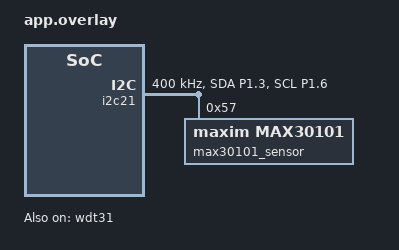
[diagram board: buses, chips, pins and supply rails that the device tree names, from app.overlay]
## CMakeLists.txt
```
# Ring•One Firmware · Copyright (c) 2026 Dotstar Systems · Apache 2.0
cmake_minimum_required(VERSION 3.20.0)

find_package(Zephyr REQUIRED HINTS $ENV{ZEPHYR_BASE})
project(ringone_firmware VERSION 0.1.0)

target_sources(app PRIVATE
  src/main.c
  src/wifi_prov.c
  src/influx_telemetry.c
  src/mqtt_client.c
  src/sntp_sync.c
  src/watchdog.c
  src/ringone_shell.c
  ../drivers/sensors/ringone_sensors.c
  ../drivers/sensors/ringone_ppg.c
)

target_include_directories(app PRIVATE
  ../drivers/sensors
)
```

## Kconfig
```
source "Kconfig.zephyr"
rsource "Kconfig.ringone"
```

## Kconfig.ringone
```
# Ring•One Firmware · Dotstar Systems · Apache 2.0
# Ring-One application Kconfig — sourced from app/Kconfig

config RINGONE_CLOUD_ENABLE
	bool "Enable Wi-Fi provisioning + cloud telemetry"
	default y
	help
	  Disable for BLE-only local bench testing: skips wifi_prov_init(),
	  sntp_sync(), influx_telemetry_init(), ringone_mqtt_init(), and the
	  periodic InfluxDB/MQTT publish — no Wi-Fi AP or cloud broker needed.
	  BLE advertising, GATT notifications and sensor reads are unaffected.
	  Build with: -DCONFIG_RINGONE_CLOUD_ENABLE=n

config RINGONE_TELEMETRY_INTERVAL_SEC
	int "MQTT telemetry publish interval seconds"
	default 30
	range 10 300
	help
	  How often to publish telemetry over MQTT (PATH C). MQTT stays
	  connected persistently, so this mainly trades data resolution vs
	  battery/airtime — it doesn't pay a new handshake per publish.
	  TWT sleep cycle on nRF7002 is tuned to this interval.

config RINGONE_INFLUX_INTERVAL_SEC
	int "InfluxDB publish interval seconds"
	default 1
	range 1 300
	help
	  How often to publish telemetry directly to InfluxDB over HTTPS
	  (PATH B). Decoupled from RINGONE_TELEMETRY_INTERVAL_SEC (MQTT)
	  since the two paths have very different per-publish cost: MQTT
	  reuses one long-lived connection, while PATH B pays a TCP+TLS
	  handshake for the first write and then reuses that connection
	  too (see influx_telemetry.c) — but a stale/closed connection
	  still costs one reconnect. Note this only changes how often the
	  *last known* sensor reading is posted; the reading itself is
	  still refreshed on the 2 s notify_work_handler cadence in
	  main.c, so it will not surface faster than that.

config RINGONE_SNTP_SERVER
	string "SNTP server hostname or IP"
	default "pool.ntp.org"
	help
	  NTP source for sntp_sync.c's time sync. Accepts a hostname or a
	  literal IP (sntp_simple() resolves either via getaddrinfo).
	  Override for offline/local-network demos where pool.ntp.org isn't
	  reachable — after sntp_thread_fn()'s retries are exhausted,
	  sntp_get_unix_time() falls back to a raw uptime counter (not a
	  real Unix timestamp), which corrupts the "ts" field in every
	  InfluxDB/MQTT publish until a sync eventually succeeds.

config RINGONE_INFLUX_HOST
	string "InfluxDB Cloud hostname"
	default "eu-central-1-1.aws.cloud2.influxdata.com"
	help
	  InfluxDB Cloud v3 write endpoint hostname.

config RINGONE_INFLUX_ORG
	string "InfluxDB organisation name"
	default "dotstar"
	help
	  InfluxDB organisation name.  Provisioned once via shell; device uses
	  runtime token from PSA Protected Storage for auth.

config RINGONE_INFLUX_BUCKET
	string "InfluxDB bucket name"
	default "ringone"
	help
	  InfluxDB bucket to write telemetry into (30 day retention recommended).

config RINGONE_MQTT_BROKER_HOST
	string "HiveMQ Cloud broker hostname"
	default "722d06c149744771bf2b3503827b63ae.s1.eu.hivemq.cloud:8883"
	help
	  HiveMQ Cloud free-tier broker hostname.
	  Format: <cluster-id>.s1.<region>.hivemq.cloud
	  Override with your real hostname; production devices get credentials
	  from PSA Protected Storage, not Kconfig.

config RINGONE_MQTT_BROKER_PORT
	int "MQTT broker TLS port"
	default 8883

config RINGONE_MQTT_USERNAME
	string "MQTT broker username (dev default only)"
	default "ringone-firmware"
	help
	  Dev-only default.  Production devices use credentials written to
	  PSA Protected Storage by the factory provisioning tool.

config RINGONE_MQTT_PASSWORD
	string "MQTT broker password (dev default only)"
	default ""
	help
	  Dev-only default.  Leave empty in production — credentials stored in
	  PSA Protected Storage (CRACEN HUK-encrypted, never plaintext in flash).

config RINGONE_SOFTAP_SSID
	string "SoftAP provisioning network name"
	default "dotstar-ringone-setup"
	help
	  SSID broadcast by the nRF54LM20B when in SoftAP provisioning mode.

config RINGONE_SOFTAP_TIMEOUT_SEC
	int "SoftAP auto-shutdown timeout seconds"
	default 300
	range 60 900
	help
	  If no Wi-Fi credentials are received via SoftAP within this period,
	  SoftAP stops automatically to conserve battery.

config RINGONE_WIFI_RECONNECT_DELAY_SEC
	int "Wi-Fi reconnect backoff delay seconds"
	default 30
```

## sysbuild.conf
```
#
# Ring•One Firmware · Dotstar Systems · Apache 2.0
#
# Sysbuild configuration — tells the NCS sysbuild system to enable the
# nRF7002 Wi-Fi driver.  Without this, sysbuild forcibly sets
# CONFIG_WIFI_NRF70=n in the application image even when prj.conf requests it.
#

SB_CONFIG_WIFI_NRF70=y
```

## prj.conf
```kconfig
# ── Application ──────────────────────────────────────────────────────
CONFIG_MAIN_STACK_SIZE=4096
CONFIG_NCS_APPLICATION_BOOT_BANNER_STRING="Ring-One | Dotstar Systems"

# ── BLE ──────────────────────────────────────────────────────────────
CONFIG_BT=y
CONFIG_BT_PERIPHERAL=y
CONFIG_BT_DEVICE_NAME="Ring-One"
CONFIG_BT_DEVICE_APPEARANCE=833
CONFIG_BT_MAX_CONN=1
CONFIG_BT_SMP=y
CONFIG_BT_LL_SOFTDEVICE=y

# ── GATT ─────────────────────────────────────────────────────────────
CONFIG_BT_GATT_DYNAMIC_DB=n

# ── Sensor ───────────────────────────────────────────────────────────
CONFIG_SENSOR=y
CONFIG_I2C=y
CONFIG_MAX30101=y

# ── Power management ─────────────────────────────────────────────────
CONFIG_PM=y
CONFIG_PM_DEVICE=y
# Deferred-init MAX30101 is brought up manually by ringone_sensors_init();
# don't let runtime PM suspend it behind our back before that happens.
CONFIG_PM_DEVICE_RUNTIME=n

# ── Logging ──────────────────────────────────────────────────────────
CONFIG_LOG=y
CONFIG_LOG_DEFAULT_LEVEL=3
CONFIG_LOG_BACKEND_UART=y
CONFIG_SERIAL=y
CONFIG_UART_CONSOLE=y

# ── GATT Device Information Service ──────────────────────────────────
CONFIG_BT_DIS=y
CONFIG_BT_DIS_MANUF_NAME=y
CONFIG_BT_DIS_MANUF_NAME_STR="Dotstar Systems"
CONFIG_BT_DIS_MODEL_NUMBER=y
CONFIG_BT_DIS_MODEL_NUMBER_STR="Ring-One"
CONFIG_BT_DIS_HW_REV=y
CONFIG_BT_DIS_HW_REV_STR="1.0"
CONFIG_BT_DIS_FW_REV=y
CONFIG_BT_DIS_FW_REV_STR="0.1.0"
CONFIG_BT_DIS_SERIAL_NUMBER=y
CONFIG_BT_DIS_SERIAL_NUMBER_STR="r1"
CONFIG_BT_DIS_PNP=n

# ── Bonding (required for BT_GATT_PERM_WRITE_ENCRYPT on WiFi-Password) ─
CONFIG_BT_BONDABLE=y
CONFIG_BT_SETTINGS=y

# ── Assert ───────────────────────────────────────────────────────────
CONFIG_ASSERT=y

# ── Wi-Fi (nRF7002 via shield) ──────────────────────────────────────
CONFIG_WIFI=y
CONFIG_WIFI_NRF70=y
CONFIG_NET_L2_WIFI_MGMT=y
CONFIG_NET_L2_ETHERNET=y
CONFIG_WIFI_NM_WPA_SUPPLICANT=y
CONFIG_WIFI_NM_WPA_SUPPLICANT_AP=y
CONFIG_WIFI_NM_WPA_SUPPLICANT_THREAD_STACK_SIZE=8192
CONFIG_NRF70_AP_MODE=y

# ── BLE + Wi-Fi coexistence (CRITICAL — Dotstar differentiator) ─────
# MPSL_CX and MPSL_CX_NRF700X are auto-selected by Kconfig from the DTS
# nrf_radio_coex node added by the nrf7002eb2_coex shield overlay.
# Do NOT set them manually — DTS-driven selection via dt_nodelabel_enabled.
CONFIG_NRF70_SR_COEX=y

# ── Shell (debug: Wi-Fi and credential provisioning) ─────────────────
CONFIG_SHELL=y
CONFIG_NET_L2_WIFI_SHELL=y
CONFIG_WIFI_CREDENTIALS_SHELL=y

# ── Networking stack ────────────────────────────────────────────────
CONFIG_NETWORKING=y
CONFIG_NET_NATIVE=y
CONFIG_NET_IPV4=y
CONFIG_NET_TCP=y
CONFIG_NET_UDP=y
CONFIG_NET_SOCKETS=y
CONFIG_POSIX_NETWORKING=y
CONFIG_DNS_RESOLVER=y
CONFIG_DNS_RESOLVER_AI_MAX_ENTRIES=8
CONFIG_DNS_NUM_CONCUR_QUERIES=4
CONFIG_NET_DHCPV4=y
CONFIG_NET_DHCPV4_SERVER=y
CONFIG_NET_MAX_CONN=8
CONFIG_NET_MAX_CONTEXTS=8
CONFIG_NET_CONNECTION_MANAGER=y
# Must be disabled when SoftAP provisioning library manages its own IP config
CONFIG_NET_CONFIG_AUTO_INIT=n

# ── Wi-Fi connectivity layer ────────────────────────────────────────
CONFIG_L2_WIFI_CONNECTIVITY=y
# Auto-connect disabled — we call conn_mgr_all_if_connect() after SoftAP
CONFIG_L2_WIFI_CONNECTIVITY_AUTO_CONNECT=n
CONFIG_L2_WIFI_CONNECTIVITY_AUTO_DOWN=n

# ── SoftAP Wi-Fi provisioning ────────────────────────────────────────
CONFIG_SOFTAP_WIFI_PROVISION=y
CONFIG_SOFTAP_WIFI_PROVISION_THREAD_STACK_SIZE=8192
# Use our brand SSID instead of the library default "nrf-wifiprov"
CONFIG_SOFTAP_WIFI_PROVISION_SSID="dotstar-ringone-setup"
# Keep socket open after provisioning so mDNS SD stays alive — the
# nRF Wi-Fi Provisioner app needs it to confirm connection succeeded.
CONFIG_SOFTAP_WIFI_PROVISION_SOCKET_CLOSE_ON_COMPLETION=n
CONFIG_NANOPB=y
CONFIG_SMF=y
CONFIG_HTTP_PARSER=y
CONFIG_HTTP_PARSER_URL=y
# mDNS + DNS-SD: MDNS_RESPONDER_DNS_SD bridges the two subsystems so
# DNS_SD_REGISTER_TCP_SERVICE() entries are actually announced over mDNS.
# Without this flag the service is registered but never advertised — the
# nRF Wi-Fi Provisioner app connects to the AP and gets no DNS-SD response.
CONFIG_MDNS_RESPONDER=y
CONFIG_DNS_SD=y
CONFIG_MDNS_RESPONDER_DNS_SD=y
CONFIG_NET_HOSTNAME_ENABLE=y
# "wifiprov" matches what the nRF Wi-Fi Provisioner app looks for via
# DNS-SD (_http._tcp.local).  The library registers the service under
# CONFIG_NET_HOSTNAME, so this name must match the app's browse query.
CONFIG_NET_HOSTNAME="wifiprov"
# Disable IPv6 — mDNS works more reliably with a single-stack responder,
# and all Ring-One cloud paths are IPv4.
CONFIG_NET_IPV6=n
# Suppress "hostname too long" POSIX warning from CONFIG_NET_HOSTNAME.
CONFIG_POSIX_SINGLE_PROCESS=n
# FS needed for SoftAP library linking
CONFIG_FILE_SYSTEM=y

# ── MQTT ────────────────────────────────────────────────────────────
CONFIG_MQTT_LIB=y
CONFIG_MQTT_LIB_TLS=y

# ── TLS / nRF Security ──────────────────────────────────────────────
CONFIG_NET_SOCKETS_SOCKOPT_TLS=y
CONFIG_NET_SOCKETS_TLS_MAX_CONTEXTS=8
CONFIG_TLS_CREDENTIALS=y
# Protected storage: TLS credentials survive reboot (needed by SoftAP HTTPS server)
CONFIG_TLS_CREDENTIALS_BACKEND_PROTECTED_STORAGE=y
CONFIG_NRF_SECURITY=y
CONFIG_MBEDTLS=y
CONFIG_MBEDTLS_ENABLE_HEAP=y
CONFIG_MBEDTLS_SSL_SERVER_NAME_INDICATION=y
CONFIG_MBEDTLS_LEGACY_CRYPTO_C=y
CONFIG_MBEDTLS_RSA_C=y
CONFIG_MBEDTLS_PEM_PARSE_C=y
CONFIG_MBEDTLS_MPI_MAX_SIZE=512
# TLS record buffer sizing:
#   IN  8192 — holds server Certificate record (cloud providers typically 3-5 KB DER chain)
#   OUT 4096 — our largest outbound message is ~400 B HTTP POST / ~256 B MQTT JSON
# With two concurrent TLS sessions (MQTT + InfluxDB) peak mbedTLS heap usage is:
#   2 × (8192 IN + 4096 OUT + ~4096 SSL ctx + ~20000 X509 parse) ≈ 72 KB
# Heap is set to 76000 to cover that peak with headroom.
# KEEP_PEER_CERTIFICATE=n frees the parsed cert right after the handshake so
# subsequent InfluxDB POSTs only need one cert's worth of X509 memory at a time.
CONFIG_MBEDTLS_SSL_IN_CONTENT_LEN=8192
CONFIG_MBEDTLS_SSL_OUT_CONTENT_LEN=4096
CONFIG_MBEDTLS_SSL_KEEP_PEER_CERTIFICATE=n
CONFIG_MBEDTLS_HEAP_SIZE=76000

# ── PSA ECC — required for SoftAP HTTPS server (ECDSA P-256) ────────
CONFIG_PSA_WANT_ALG_ECDH=y
CONFIG_PSA_WANT_ALG_ECDSA=y
CONFIG_PSA_WANT_ECC_SECP_R1_256=y
CONFIG_PSA_WANT_KEY_TYPE_ECC_PUBLIC_KEY=y
CONFIG_PSA_WANT_KEY_TYPE_ECC_KEY_PAIR_IMPORT=y
CONFIG_PSA_WANT_KEY_TYPE_ECC_KEY_PAIR_GENERATE=y
CONFIG_PSA_WANT_KEY_TYPE_ECC_KEY_PAIR_EXPORT=y

# ── PSA Protected Storage — MQTT creds encrypted with CRACEN HUK ────
# TRUSTED_STORAGE uses AEAD (ChaChaPoly) with key derived from CRACEN
# hardware unique key. Credentials never appear in plaintext in flash.
CONFIG_TRUSTED_STORAGE=y
CONFIG_PSA_PROTECTED_STORAGE=y
CONFIG_HW_UNIQUE_KEY=y
CONFIG_HW_UNIQUE_KEY_RANDOM=y

# ── wifi_ready library — waits for WPA supplicant / nRF7002 FW load ─
CONFIG_WIFI_READY_LIB=y

# ── Wi-Fi credentials (provisioned via SoftAP or wifi_cred shell) ────
CONFIG_WIFI_CREDENTIALS=y
CONFIG_FLASH=y
CONFIG_FLASH_PAGE_LAYOUT=y
CONFIG_FLASH_MAP=y
CONFIG_ZMS=y
CONFIG_SETTINGS=y

# ── Network buffers (size for MQTT JSON payload) ────────────────────
CONFIG_NET_PKT_RX_COUNT=8
CONFIG_NET_PKT_TX_COUNT=8
CONFIG_NET_BUF_RX_COUNT=8
CONFIG_NET_BUF_TX_COUNT=16
CONFIG_NRF70_RX_NUM_BUFS=8
CONFIG_NET_PKT_BUF_RX_DATA_POOL_SIZE=4096
CONFIG_NET_PKT_BUF_TX_DATA_POOL_SIZE=4096

# ── Stack and heap sizes ────────────────────────────────────────────
CONFIG_HEAP_MEM_POOL_SIZE=40000
CONFIG_HEAP_MEM_POOL_IGNORE_MIN=y
CONFIG_NRF_WIFI_CTRL_HEAP_SIZE=20000
CONFIG_NRF_WIFI_DATA_HEAP_SIZE=53000
CONFIG_NET_CONNECTION_MANAGER_MONITOR_STACK_SIZE=4096
CONFIG_NET_TX_STACK_SIZE=2048
CONFIG_NET_RX_STACK_SIZE=2048
CONFIG_NET_MGMT_EVENT_STACK_SIZE=4096
CONFIG_SYSTEM_WORKQUEUE_STACK_SIZE=4096

# ── Floating-point printf (for JSON temp field) ─────────────────────
CONFIG_CBPRINTF_FP_SUPPORT=y

# ── SNTP time sync ──────────────────────────────────────────────────
CONFIG_SNTP=y

# ── Hardware watchdog ────────────────────────────────────────────────
CONFIG_WATCHDOG=y
CONFIG_WDT_DISABLE_AT_BOOT=n
CONFIG_HWINFO=y

# ── HTTP client (PATH B — InfluxDB HTTPS POST) ───────────────────────
CONFIG_HTTP_CLIENT=y

# ── DK buttons (SoftAP long-press trigger) ───────────────────────────
CONFIG_DK_LIBRARY=y
CONFIG_GPIO=y

# ── Die temperature sensor ───────────────────────────────────────────
# RING_ONE_TODO: verify driver name for nRF54LM20B in NCS v3.3.0
# CONFIG_DIE_TEMP_NRF5=y

# ── Reboot support (MQTT cmd handler) ───────────────────────────────
CONFIG_REBOOT=y

# ── Logging additions ────────────────────────────────────────────────
CONFIG_NET_LOG=y
CONFIG_WIFI_NM_WPA_SUPPLICANT_LOG_LEVEL_INF=y
```

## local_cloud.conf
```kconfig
# Ring•One "local_cloud" build overlay.
#
# Points the firmware at ../ringone-cloud-local (self-hosted InfluxDB +
# Mosquitto + Grafana behind self-signed TLS) instead of the live HiveMQ
# Cloud / InfluxDB Cloud accounts the Kconfig.ringone defaults point at.
#
# CONFIG_RINGONE_INFLUX_HOST and CONFIG_RINGONE_MQTT_BROKER_HOST are NOT
# set here — the target is a laptop's LAN IP, which changes with whatever
# network the demo runs on. Pass both at build time; `./ringone-cloud
# start` in ringone-cloud-local prints the exact IP to use:
#
#   west build -b nrf54lm20dk/nrf54lm20b/cpuapp app/ \
#     -- -DSHIELD="nrf7002eb2;nrf7002eb2_coex" \
#        -DEXTRA_CONF_FILE=local_cloud.conf \
#        -DCONFIG_RINGONE_INFLUX_HOST=\"<lan-ip>\" \
#        -DCONFIG_RINGONE_MQTT_BROKER_HOST=\"<lan-ip>:8883\"
#
# InfluxDB org/bucket already match ringone-cloud-local's .env by default
# (CONFIG_RINGONE_INFLUX_ORG="dotstar", CONFIG_RINGONE_INFLUX_BUCKET="ringone")
# — nothing to override there.
#
# The InfluxDB write token is provisioned at runtime, not build time:
#   uart:~$ ringone_cred set influx_token ringone-local-dev-token
#
# mosquitto.conf in ringone-cloud-local sets `allow_anonymous true` on
# every listener (closed LAN demo stack, never internet-reachable) — no
# MQTT credentials needed, so clear the Kconfig dev defaults rather than
# send them.
CONFIG_RINGONE_MQTT_USERNAME=""
CONFIG_RINGONE_MQTT_PASSWORD=""
```

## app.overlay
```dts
/* Ring•One Firmware · Dotstar Systems · Apache 2.0 */
/* DTS overlay: enable watchdog0 (wdt31) on nRF54LM20B */

&wdt31 {
	status = "okay";
};

/* MAX30101 heart-rate / SpO2 sensor: I2C21 on P1.03 (SDA) / P1.06 (SCL) —
 * validated on nRF54LM20DK-A hardware.
 * NOTE: P1.04 is nrf7002eb2's bucken-gpios (expansion header pin 4) —
 * do not put I2C21 there, it stops the nRF7002 from powering on and
 * Wi-Fi init fails even with the MAX30101 unplugged. P1.13/P1.05/P1.07
 * are also claimed by the shield (iovdd-ctrl / host-irq / coex grant).
 * P1.02 was tried but didn't come up reliably on the breadboard wiring;
 * P1.03 and P1.06 are free on this board and work. */
/ {
	aliases {
		heart-rate-sensor = &max30101_sensor;
	};
};

&pinctrl {
	i2c21_default: i2c21_default {
		group1 {
			psels = <NRF_PSEL(TWIM_SDA, 1, 3)>,
				<NRF_PSEL(TWIM_SCL, 1, 6)>;
			bias-pull-up;
		};
	};

	i2c21_sleep: i2c21_sleep {
		group1 {
			psels = <NRF_PSEL(TWIM_SDA, 1, 3)>,
				<NRF_PSEL(TWIM_SCL, 1, 6)>;
			low-power-enable;
		};
	};
};

&i2c21 {
	status = "okay";
	pinctrl-0 = <&i2c21_default>;
	pinctrl-1 = <&i2c21_sleep>;
	pinctrl-names = "default", "sleep";
	clock-frequency = <I2C_BITRATE_FAST>; /* 400 kHz */

	max30101_sensor: max30101@57 {
		status = "okay";
		compatible = "maxim,max30101";
		reg = <0x57>;
		/* Sensor power rail settles after the rest of the board is
		 * up — deferred-init lets ringone_sensors_init() retry the
		 * bring-up sequence instead of failing a POST_KERNEL init. */
		zephyr,deferred-init;
		acq-mode = "spo2";
		/* Binding default led-pa is [0xff,0xff,0xff] (~50 mA per LED) —
		 * at ring form-factor proximity that pins the photodiode at
		 * ADC full-scale (raw reads 0x3FFFF, i.e. 32767 after the
		 * driver's data_shift), clipping the AC/pulsatile component
		 * flat and leaving heart-rate/SpO2 stuck at 0.
		 *
		 * led-pa=0x24 (previous value) stopped the saturation, but
		 * ringone_ppg debug logging on hardware showed the real
		 * pulsatile AC settles at only ~9-13 counts against a ~7460
		 * DC baseline once contact stabilises — ~0.15% modulation,
		 * over 10x below MIN_AC_RMS_COUNTS (150). DC is still only
		 * ~23% of the way to the saturation ceiling there, but AC
		 * scales with DC, so LED current alone tops out around
		 * ~55-60 counts even pushed to the saturation edge — not
		 * enough by itself.
		 *
		 * led-pw's default (69 us) only gives 15-bit resolution, so
		 * the driver's data_shift discards the bottom 3 raw bits.
		 * 411 us (18-bit, data_shift=0) recovers those for free — an
		 * 8x count gain with no extra LED current or noise. Paired
		 * with a smaller led-pa bump for margin, this should clear
		 * the AC threshold while keeping steady-state DC well under
		 * the (now finer-grained) saturation ceiling. Retune against
		 * `ringone spo2` on actual hardware. */
		led-pw = <411>;
		led-pa = [60 60 00];
	};
};
```

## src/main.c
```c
/* Ring•One Firmware · Dotstar Systems · Apache 2.0 */

#include <zephyr/kernel.h>
#include <zephyr/bluetooth/bluetooth.h>
#include <zephyr/bluetooth/conn.h>
#include <zephyr/bluetooth/gatt.h>
#include <zephyr/bluetooth/uuid.h>
#include <zephyr/settings/settings.h>
#include <zephyr/logging/log.h>
#include <hw_unique_key.h>
#include "ringone_sensors.h"
#include "wifi_prov.h"
#include "influx_telemetry.h"
#include "mqtt_client.h"
#include "sntp_sync.h"
#include "watchdog.h"

LOG_MODULE_REGISTER(ringone_main, LOG_LEVEL_INF);

/* ── UUIDs ────────────────────────────────────────────────────────── */
#define UUID_SVC_VAL      BT_UUID_128_ENCODE(0xfd0d5c94, 0x193c, 0x496e, \
					     0xb80f, 0x511a474a449f)
#define UUID_TEMP_VAL     BT_UUID_128_ENCODE(0xac70a713, 0x348e, 0x43db, \
					     0xbf84, 0xffce9d82120d)
#define UUID_HR_VAL       BT_UUID_128_ENCODE(0x75fb4a26, 0x440c, 0x4dd3, \
					     0xbe96, 0x91ad75ecb864)
#define UUID_SPO2_VAL     BT_UUID_128_ENCODE(0xc4671ec2, 0x35f1, 0x40c4, \
					     0x887b, 0x37bc00ec3427)
#define UUID_STEP_VAL     BT_UUID_128_ENCODE(0x7956ed3f, 0x1cb4, 0x47ce, \
					     0x89ad, 0x9742bc0ab8bf)
#define UUID_BAT_VAL      BT_UUID_128_ENCODE(0x02e35db9, 0x662d, 0x4229, \
					     0xa874, 0xd4f04c82653a)

/* Wi-Fi provisioning characteristics */
#define UUID_WIFI_SSID_VAL  BT_UUID_128_ENCODE(0xa1b2c3d4, 0x0001, 0x0001, \
					       0x0001, 0xa1b2c3d40001)
#define UUID_WIFI_PASS_VAL  BT_UUID_128_ENCODE(0xa1b2c3d4, 0x0001, 0x0001, \
					       0x0001, 0xa1b2c3d40002)
#define UUID_WIFI_STAT_VAL  BT_UUID_128_ENCODE(0xa1b2c3d4, 0x0001, 0x0001, \
					       0x0001, 0xa1b2c3d40003)

#define UUID_SVC       BT_UUID_DECLARE_128(UUID_SVC_VAL)
#define UUID_TEMP      BT_UUID_DECLARE_128(UUID_TEMP_VAL)
#define UUID_HR        BT_UUID_DECLARE_128(UUID_HR_VAL)
#define UUID_SPO2      BT_UUID_DECLARE_128(UUID_SPO2_VAL)
#define UUID_STEP      BT_UUID_DECLARE_128(UUID_STEP_VAL)
#define UUID_BAT       BT_UUID_DECLARE_128(UUID_BAT_VAL)
#define UUID_WIFI_SSID BT_UUID_DECLARE_128(UUID_WIFI_SSID_VAL)
#define UUID_WIFI_PASS BT_UUID_DECLARE_128(UUID_WIFI_PASS_VAL)
#define UUID_WIFI_STAT BT_UUID_DECLARE_128(UUID_WIFI_STAT_VAL)

/* ── Shared sensor data ───────────────────────────────────────────── */
static ringone_data_t g_data;

/* ── GATT ─────────────────────────────────────────────────────────── */
static void ccc_changed(const struct bt_gatt_attr *attr, uint16_t value)
{
	ARG_UNUSED(attr);
	ARG_UNUSED(value);
}

/*
 * Attribute index map (BT_GATT_CHARACTERISTIC expands to 2 entries):
 *   [0]  primary service declaration
 *   [1]  temperature char declaration
 *   [2]  temperature char value      ← notify  (unchanged)
 *   [3]  temperature CCC
 *   [4]  heart_rate char declaration
 *   [5]  heart_rate char value       ← notify  (unchanged)
 *   [6]  heart_rate CCC
 *   [7]  spo2 char declaration
 *   [8]  spo2 char value             ← notify  (unchanged)
 *   [9]  spo2 CCC
 *   [10] steps char declaration
 *   [11] steps char value            ← notify  (unchanged)
 *   [12] steps CCC
 *   [13] battery char declaration
 *   [14] battery char value          ← notify  (unchanged)
 *   [15] battery CCC
 *   [16] wifi_ssid char declaration
 *   [17] wifi_ssid char value        ← write
 *   [18] wifi_pass char declaration
 *   [19] wifi_pass char value        ← write (ENCRYPT, requires bond)
 *   [20] wifi_status char declaration
 *   [21] wifi_status char value      ← notify + read
 *   [22] wifi_status CCC
 */

/* Write callbacks — delegate to wifi_prov.c */
static ssize_t wifi_ssid_write(struct bt_conn *conn,
				const struct bt_gatt_attr *attr,
				const void *buf, uint16_t len,
				uint16_t offset, uint8_t flags)
{
	ARG_UNUSED(conn);
	ARG_UNUSED(attr);
	ARG_UNUSED(offset);
	ARG_UNUSED(flags);
	wifi_prov_on_ssid_write(buf, len);
	return (ssize_t)len;
}

static ssize_t wifi_pass_write(struct bt_conn *conn,
				const struct bt_gatt_attr *attr,
				const void *buf, uint16_t len,
				uint16_t offset, uint8_t flags)
{
	ARG_UNUSED(conn);
	ARG_UNUSED(attr);
	ARG_UNUSED(offset);
	ARG_UNUSED(flags);
	wifi_prov_on_password_write(buf, len);
	return (ssize_t)len;
}

static ssize_t wifi_status_read(struct bt_conn *conn,
				 const struct bt_gatt_attr *attr,
				 void *buf, uint16_t len, uint16_t offset)
{
	ARG_UNUSED(conn);
	ARG_UNUSED(attr);
	uint8_t status = (uint8_t)wifi_prov_get_status();

	return bt_gatt_attr_read(conn, attr, buf, len, offset,
				 &status, sizeof(status));
}

BT_GATT_SERVICE_DEFINE(ringone_svc,
	BT_GATT_PRIMARY_SERVICE(UUID_SVC),

	/* Temperature — unchanged */
	BT_GATT_CHARACTERISTIC(UUID_TEMP, BT_GATT_CHRC_NOTIFY,
		BT_GATT_PERM_NONE, NULL, NULL, NULL),
	BT_GATT_CCC(ccc_changed, BT_GATT_PERM_READ | BT_GATT_PERM_WRITE),

	/* Heart Rate — unchanged */
	BT_GATT_CHARACTERISTIC(UUID_HR, BT_GATT_CHRC_NOTIFY,
		BT_GATT_PERM_NONE, NULL, NULL, NULL),
	BT_GATT_CCC(ccc_changed, BT_GATT_PERM_READ | BT_GATT_PERM_WRITE),

	/* SpO2 — unchanged */
	BT_GATT_CHARACTERISTIC(UUID_SPO2, BT_GATT_CHRC_NOTIFY,
		BT_GATT_PERM_NONE, NULL, NULL, NULL),
	BT_GATT_CCC(ccc_changed, BT_GATT_PERM_READ | BT_GATT_PERM_WRITE),

	/* Steps — unchanged */
	BT_GATT_CHARACTERISTIC(UUID_STEP, BT_GATT_CHRC_NOTIFY,
		BT_GATT_PERM_NONE, NULL, NULL, NULL),
	BT_GATT_CCC(ccc_changed, BT_GATT_PERM_READ | BT_GATT_PERM_WRITE),

	/* Battery — unchanged */
	BT_GATT_CHARACTERISTIC(UUID_BAT, BT_GATT_CHRC_NOTIFY,
		BT_GATT_PERM_NONE, NULL, NULL, NULL),
	BT_GATT_CCC(ccc_changed, BT_GATT_PERM_READ | BT_GATT_PERM_WRITE),

	/* WiFi SSID — write only, no encryption required */
	BT_GATT_CHARACTERISTIC(UUID_WIFI_SSID,
		BT_GATT_CHRC_WRITE | BT_GATT_CHRC_WRITE_WITHOUT_RESP,
		BT_GATT_PERM_WRITE,
		NULL, wifi_ssid_write, NULL),

	/* WiFi Password — write requires bonded connection (WRITE_ENCRYPT) */
	BT_GATT_CHARACTERISTIC(UUID_WIFI_PASS,
		BT_GATT_CHRC_WRITE | BT_GATT_CHRC_WRITE_WITHOUT_RESP,
		BT_GATT_PERM_WRITE_ENCRYPT,
		NULL, wifi_pass_write, NULL),

	/* WiFi Status — notify + read, value: 0x00–0x03 */
	BT_GATT_CHARACTERISTIC(UUID_WIFI_STAT,
		BT_GATT_CHRC_NOTIFY | BT_GATT_CHRC_READ,
		BT_GATT_PERM_READ,
		wifi_status_read, NULL, NULL),
	BT_GATT_CCC(ccc_changed, BT_GATT_PERM_READ | BT_GATT_PERM_WRITE),
);

/* ── Advertising ──────────────────────────────────────────────────── */
static const struct bt_data ad[] = {
	BT_DATA_BYTES(BT_DATA_FLAGS, BT_LE_AD_GENERAL | BT_LE_AD_NO_BREDR),
	BT_DATA_BYTES(BT_DATA_UUID128_ALL, UUID_SVC_VAL),
};

static const struct bt_data sd[] = {
	BT_DATA(BT_DATA_NAME_COMPLETE,
		CONFIG_BT_DEVICE_NAME, sizeof(CONFIG_BT_DEVICE_NAME) - 1),
};

static void start_advertising(void)
{
	int err = bt_le_adv_start(BT_LE_ADV_CONN_FAST_2, ad, ARRAY_SIZE(ad),
				  sd, ARRAY_SIZE(sd));

	if (err) {
		LOG_ERR("Advertising start failed (err %d)", err);
	}
}

static void adv_restart_work_handler(struct k_work *work);
static K_WORK_DELAYABLE_DEFINE(adv_restart_work, adv_restart_work_handler);

static void adv_restart_work_handler(struct k_work *work)
{
	ARG_UNUSED(work);
	start_advertising();
}

/* ── Connection callbacks ─────────────────────────────────────────── */
static void connected(struct bt_conn *conn, uint8_t err)
{
	if (err) {
		LOG_ERR("Connection failed (err %u)", err);
		return;
	}
	LOG_INF("Ring-One connected");
}

static void disconnected(struct bt_conn *conn, uint8_t reason)
{
	LOG_INF("Ring-One disconnected (reason %u)", reason);
	k_work_schedule(&adv_restart_work, K_MSEC(100));
}

BT_CONN_CB_DEFINE(conn_callbacks) = {
	.connected    = connected,
	.disconnected = disconnected,
};

/* ── Notify + telemetry loop (2 s period) ─────────────────────────── */
static void notify_work_handler(struct k_work *work);
static K_WORK_DELAYABLE_DEFINE(notify_work, notify_work_handler);

static uint32_t s_notify_ticks;

/* ── InfluxDB publish loop (own cadence, RINGONE_INFLUX_INTERVAL_SEC) ──
 * Decoupled from notify_work's 2 s sensor-read cadence: this just reposts
 * whatever g_data last held. g_data is only ever written by notify_work_handler
 * and only ever read here, and both run on the system workqueue, so there's
 * no concurrent access despite the two work items being logically separate. */
static void influx_post_work_handler(struct k_work *work);
static K_WORK_DELAYABLE_DEFINE(influx_post_work, influx_post_work_handler);

static void influx_post_work_handler(struct k_work *work)
{
	ARG_UNUSED(work);

	influx_telemetry_publish(&g_data);   /* PATH B */
	k_work_reschedule(&influx_post_work,
			  K_SECONDS(CONFIG_RINGONE_INFLUX_INTERVAL_SEC));
}

static void notify_work_handler(struct k_work *work)
{
	ARG_UNUSED(work);

	/* Read sensors */
	g_data.temperature = ringone_read_temperature();
	g_data.heart_rate  = ringone_read_heart_rate();
	g_data.spo2        = ringone_read_spo2();
	g_data.steps       = ringone_read_steps();
	g_data.battery     = ringone_read_battery();

	/* BLE notify — existing characteristics unchanged at attrs[2,5,8,11,14] */
	bt_gatt_notify(NULL, &ringone_svc.attrs[2],  &g_data.temperature,
		       sizeof(g_data.temperature));
	bt_gatt_notify(NULL, &ringone_svc.attrs[5],  &g_data.heart_rate,
		       sizeof(g_data.heart_rate));
	bt_gatt_notify(NULL, &ringone_svc.attrs[8],  &g_data.spo2,
		       sizeof(g_data.spo2));
	bt_gatt_notify(NULL, &ringone_svc.attrs[11], &g_data.steps,
		       sizeof(g_data.steps));
	bt_gatt_notify(NULL, &ringone_svc.attrs[14], &g_data.battery,
		       sizeof(g_data.battery));

	/* Feed hardware watchdog every 2 s tick (well within 30 s window) */
	watchdog_feed();

	/* MQTT telemetry counter: publish every RINGONE_TELEMETRY_INTERVAL_SEC.
	 * InfluxDB (PATH B) runs on its own faster, independent cadence — see
	 * influx_post_work below — since it reuses a persistent connection and
	 * isn't tied to MQTT's publish-cost tradeoff. */
	if (IS_ENABLED(CONFIG_RINGONE_CLOUD_ENABLE)) {
		s_notify_ticks += 2;
		if (s_notify_ticks >= CONFIG_RINGONE_TELEMETRY_INTERVAL_SEC) {
			s_notify_ticks = 0;
			mqtt_publish_telemetry(&g_data);     /* PATH C */
		}
	}

	int16_t temp_int  = g_data.temperature / 100;
	int16_t temp_frac = g_data.temperature % 100;

	if (temp_frac < 0) {
		temp_frac = -temp_frac;
	}

	LOG_INF("[%u] temp=%d.%02d hr=%u spo2=%u steps=%u bat=%u "
		"wifi=%s influx=%s mqtt=%s",
		sntp_get_unix_time(),
		(int)temp_int, (int)temp_frac,
		g_data.heart_rate, g_data.spo2,
		g_data.steps, g_data.battery,
		wifi_prov_get_status() == WIFI_STATUS_CONNECTED
			? "UP" : "DOWN",
		influx_telemetry_connected() ? "OK" : "--",
		mqtt_client_connected()      ? "OK" : "--");

	k_work_reschedule(&notify_work, K_SECONDS(2));
}

/* ── Entry point ──────────────────────────────────────────────────── */
int main(void)
{
	int err;

	LOG_INF("Ring-One | Dotstar Systems | "
		"dotstarsystems.com");

	/* a. Hardware watchdog — must be first */
	err = watchdog_init();
	if (err) {
		LOG_WRN("watchdog_init failed (err %d) — continuing", err);
	}

	/* PSA Protected Storage (ringone_cred, TLS credential backend) derives
	 * its AEAD key from a CRACEN hardware-unique key held in KMU. A
	 * never-provisioned chip has none, and every psa_ps_*() call fails
	 * with PSA_ERROR_BAD_STATE until one is written — do that here, once,
	 * before anything touches protected storage. */
	if (!hw_unique_key_are_any_written()) {
		int huk_err = hw_unique_key_write_random();

		if (huk_err != HW_UNIQUE_KEY_SUCCESS) {
			LOG_ERR("hw_unique_key_write_random failed (err %d)", huk_err);
		} else {
			LOG_INF("Provisioned random hardware-unique key into KMU");
		}
	}

	err = ringone_sensors_init();
	if (err) {
		LOG_ERR("Sensor init failed (err %d)", err);
		return err;
	}

	/* b. BLE + GATT server */
	err = bt_enable(NULL);
	if (err) {
		LOG_ERR("Bluetooth init failed (err %d)", err);
		return err;
	}

	/* Load BT identity address and bonding keys from NVS before advertising.
	 * Required when CONFIG_BT_SETTINGS=y — without this the controller has
	 * no ID address and bt_le_adv_start() returns -EAGAIN. */
	settings_load();

	/* Pass WiFi-Status GATT attr to wifi_prov for notify (attrs[21]) */
	wifi_prov_set_status_attr(&ringone_svc.attrs[21]);

	/* Start advertising before Wi-Fi init so the ring is discoverable
	 * immediately — provisioning may block on first boot. */
	start_advertising();
	LOG_INF("Ring-One advertising as \"%s\"", CONFIG_BT_DEVICE_NAME);

	if (IS_ENABLED(CONFIG_RINGONE_CLOUD_ENABLE)) {
		/* c. Wi-Fi provisioning — async, spawns wifi_prov thread */
		err = wifi_prov_init();
		if (err) {
			LOG_ERR("wifi_prov_init failed (err %d)", err);
		}

		/* d. SNTP time sync — async, spawns sntp_sync thread */
		sntp_sync();

		/* e. InfluxDB HTTPS telemetry — async, spawns influx_pub thread */
		err = influx_telemetry_init();
		if (err) {
			LOG_ERR("influx_telemetry_init failed (err %d)", err);
		}
		k_work_schedule(&influx_post_work,
				K_SECONDS(CONFIG_RINGONE_INFLUX_INTERVAL_SEC));

		/* f. MQTT HiveMQ bidirectional — async, spawns mqtt_client thread */
		err = ringone_mqtt_init();
		if (err) {
			LOG_ERR("mqtt_client_init failed (err %d)", err);
		}
	} else {
		LOG_WRN("RINGONE_CLOUD_ENABLE=n — BLE-only mode, "
			"Wi-Fi/InfluxDB/MQTT skipped");
	}

	/* Start 2 s BLE notify + telemetry loop */
	k_work_schedule(&notify_work, K_SECONDS(2));

	return 0;
}
```

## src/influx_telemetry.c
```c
/* Ring•One Firmware · Dotstar Systems · Apache 2.0 */

/*
 * PATH B — HTTPS direct to InfluxDB Cloud v3
 *
 * Posts telemetry in InfluxDB line protocol to:
 *   https://<RINGONE_INFLUX_HOST>/api/v2/write
 * Authorization: Token <influx_token from PSA Protected Storage>
 *
 * Runs in a dedicated thread ("influx_pub") so the BLE notify loop
 * is never blocked by TLS handshakes.
 */

#include <zephyr/kernel.h>
#include <zephyr/logging/log.h>
#include <zephyr/net/net_if.h>
#include <zephyr/net/net_event.h>
#include <zephyr/net/net_mgmt.h>
#include <zephyr/net/socket.h>
#include <zephyr/net/tls_credentials.h>
#include <zephyr/bluetooth/bluetooth.h>
#include <psa/protected_storage.h>
#include <stdio.h>
#include <stdlib.h>
#include <string.h>

#include "influx_telemetry.h"
#include "sntp_sync.h"

LOG_MODULE_REGISTER(influx_telemetry, LOG_LEVEL_INF);

/* RING_ONE_TODO: install Let's Encrypt CA cert (ISRG Root X1) for TLS
 * verification of cloud.influxdata.com.  Use tls_cred_add() at first boot:
 *   tls_credential_add(INFLUX_TLS_TAG, TLS_CREDENTIAL_CA_CERTIFICATE,
 *                      ca_cert_pem, ca_cert_pem_len);
 * Until provisioned, peer verification is skipped (dev mode). */

/* do_post() reuses one TLS connection across posts instead of paying a
 * fresh TCP+TLS handshake per write (see s_sock) — that's what makes a
 * short RINGONE_INFLUX_INTERVAL_SEC viable at all. At longer intervals
 * (dialed back up for battery life) the server's idle keep-alive timeout
 * will likely close it between posts anyway, back to one handshake per
 * write. RING_ONE_TODO for that case: batch N buffered points into a
 * single POST issued once per TWT wake, instead of reconnecting on a
 * cadence shorter than the TWT service period. */

#define INFLUX_HOST   CONFIG_RINGONE_INFLUX_HOST
#define INFLUX_PORT   443

#define INFLUX_THREAD_STACK  8192
#define INFLUX_THREAD_PRIO   8
#define INFLUX_TIMEOUT_MS    10000

/* PSA Protected Storage UID for InfluxDB token */
#define PS_UID_INFLUX_TOKEN  ((psa_storage_uid_t)0x524E4946U)  /* "RNIF" */
#define INFLUX_TOKEN_MAX_LEN 128

/* Message queue: main loop → influx thread */
K_MSGQ_DEFINE(s_queue, sizeof(ringone_data_t), 4, 4);

static volatile bool s_influx_ok;
static char s_device_id[16];
static char s_token[INFLUX_TOKEN_MAX_LEN];

/* Persistent TLS socket, reused across posts — only touched by influx_thread_fn.
 * A fresh TCP+TLS handshake per write is the dominant cost of a PATH B post
 * (hundreds of ms on this hardware); reusing the connection turns a repost
 * into one HTTP request/response over an already-open channel, which is what
 * makes a short RINGONE_INFLUX_INTERVAL_SEC actually viable. -1 == closed. */
static int s_sock = -1;

/* L4 connectivity */
static struct net_mgmt_event_callback s_l4_cb;
static K_SEM_DEFINE(s_net_sem, 0, 1);
static volatile bool s_net_up;

static void l4_handler(struct net_mgmt_event_callback *cb,
		       uint64_t event, struct net_if *iface)
{
	ARG_UNUSED(cb);
	ARG_UNUSED(iface);
	if (event == NET_EVENT_L4_CONNECTED) {
		s_net_up = true;
		k_sem_give(&s_net_sem);
	} else if (event == NET_EVENT_L4_DISCONNECTED) {
		s_net_up = false;
		s_influx_ok = false;
	}
}

static void derive_device_id(void)
{
	bt_addr_le_t addr;
	size_t count = 1;

	bt_id_get(&addr, &count);
	/* Must match mqtt_client.c's derive_device_id() exactly — both paths
	 * derive from the same BLE address and land in the same InfluxDB
	 * bucket/measurement (telegraf.conf bridges MQTT in too). A mismatch
	 * here means Grafana groups one physical ring into two series. */
	snprintf(s_device_id, sizeof(s_device_id), "ring-one-%02X%02X",
		 addr.a.val[1], addr.a.val[0]);
}

/* ── HTTP/TLS POST ────────────────────────────────────────────────── */

static void influx_disconnect(void)
{
	if (s_sock >= 0) {
		zsock_close(s_sock);
		s_sock = -1;
	}
}

static int influx_connect(void)
{
	struct zsock_addrinfo hints = {
		.ai_family   = AF_INET,
		.ai_socktype = SOCK_STREAM,
	};
	struct zsock_addrinfo *res = NULL;
	char port_str[8];

	snprintf(port_str, sizeof(port_str), "%d", INFLUX_PORT);
	int err = zsock_getaddrinfo(INFLUX_HOST, port_str, &hints, &res);

	if (err) {
		LOG_ERR("DNS lookup %s failed (err %d)", INFLUX_HOST, err);
		return -EHOSTUNREACH;
	}

	int sock = zsock_socket(AF_INET, SOCK_STREAM, IPPROTO_TLS_1_2);

	if (sock < 0) {
		LOG_ERR("socket() failed (err %d)", errno);
		zsock_freeaddrinfo(res);
		return -errno;
	}

	/* TLS peer verification disabled until CA cert is provisioned.
	 * Do NOT set TLS_SEC_TAG_LIST — Zephyr validates the tag even when
	 * peer_verify is NONE, which triggers "No TLS credential found". */
	int verify = TLS_PEER_VERIFY_NONE;

	zsock_setsockopt(sock, SOL_TLS, TLS_PEER_VERIFY,
			 &verify, sizeof(verify));
	zsock_setsockopt(sock, SOL_TLS, TLS_HOSTNAME,
			 INFLUX_HOST, strlen(INFLUX_HOST));

	/* Connect timeout via SO_RCVTIMEO on TLS socket is unreliable;
	 * use non-blocking connect with poll instead. */
	struct timeval tv = {.tv_sec = INFLUX_TIMEOUT_MS / 1000};

	zsock_setsockopt(sock, SOL_SOCKET, SO_RCVTIMEO, &tv, sizeof(tv));
	zsock_setsockopt(sock, SOL_SOCKET, SO_SNDTIMEO, &tv, sizeof(tv));

	err = zsock_connect(sock, res->ai_addr, res->ai_addrlen);
	zsock_freeaddrinfo(res);

	if (err) {
		LOG_ERR("TLS connect to %s failed (err %d)", INFLUX_HOST, errno);
		zsock_close(sock);
		return -errno;
	}

	s_sock = sock;
	return 0;
}

/* Read one full HTTP/1.1 response off s_sock — status line, headers, and
 * (if Content-Length says there is one) body — and report the status code.
 *
 * This has to fully drain the response, not just grab whatever one recv()
 * returns: s_sock is reused for the next POST, and any response bytes left
 * unread here (extra headers, a body past the first packet) would be
 * misread as the start of the *next* response, corrupting it. That's
 * exactly what a single-shot recv() got away with before the connection
 * was made persistent — the socket was thrown away right after, taking any
 * unread trailing bytes with it.
 *
 * *should_reuse is set false when the response has no Content-Length to
 * bound it (nothing this fixed-shape API sends today, but nothing rules it
 * out) — without a definite length there's no safe way to know the socket
 * is left clean, so the caller closes it rather than risk reusing it. */
static int read_http_response(bool *should_reuse)
{
	char buf[512];
	size_t len = 0;
	int status = -1;
	long content_length = -1;
	char *header_end = NULL;

	*should_reuse = true;

	while (len < sizeof(buf) - 1 && !header_end) {
		int r = zsock_recv(s_sock, buf + len, sizeof(buf) - 1 - len, 0);

		if (r <= 0) {
			return -1;
		}
		len += (size_t)r;
		buf[len] = '\0';
		header_end = strstr(buf, "\r\n\r\n");
	}

	if (!header_end) {
		return -1;
	}

	sscanf(buf, "HTTP/%*d.%*d %d", &status);

	char *cl = strstr(buf, "Content-Length:");

	if (cl && cl < header_end) {
		content_length = strtol(cl + strlen("Content-Length:"), NULL, 10);
	}

	if (content_length < 0) {
		*should_reuse = false;
		return status;
	}

	size_t body_have = len - (size_t)((header_end + 4) - buf);

	while ((long)body_have < content_length) {
		int r = zsock_recv(s_sock, buf, sizeof(buf) - 1, 0);

		if (r <= 0) {
			return -1;
		}
		body_have += (size_t)r;
	}

	return status;
}

/* One POST attempt over s_sock, connecting first if it isn't already open.
 * Any I/O failure closes s_sock so the next attempt (do_post()'s retry, or
 * the following publish cycle) reconnects from scratch. */
static int do_post_once(const char *body, size_t body_len)
{
	if (s_sock < 0) {
		int err = influx_connect();

		if (err) {
			return err;
		}
	}

	char url[256];

	snprintf(url, sizeof(url),
		 "/api/v2/write?org=%s&bucket=%s&precision=s",
		 CONFIG_RINGONE_INFLUX_ORG, CONFIG_RINGONE_INFLUX_BUCKET);

	char hdr[512];
	int hdr_len = snprintf(hdr, sizeof(hdr),
		"POST %s HTTP/1.1\r\n"
		"Host: %s\r\n"
		"Authorization: Token %s\r\n"
		"Content-Type: text/plain; charset=utf-8\r\n"
		"Content-Length: %zu\r\n"
		"Connection: keep-alive\r\n"
		"\r\n",
		url, INFLUX_HOST, s_token, body_len);

	if (hdr_len < 0 || hdr_len >= (int)sizeof(hdr)) {
		return -EMSGSIZE;
	}

	if (zsock_send(s_sock, hdr, hdr_len, 0) < 0 ||
	    zsock_send(s_sock, body, body_len, 0) < 0) {
		LOG_WRN("InfluxDB: send failed (errno %d) — "
			"connection likely stale", errno);
		influx_disconnect();
		return -EIO;
	}

	bool should_reuse;
	int status = read_http_response(&should_reuse);

	if (status < 0) {
		LOG_WRN("InfluxDB: no response — connection likely stale");
		influx_disconnect();
		return -EIO;
	}

	if (!should_reuse) {
		influx_disconnect();
	}

	if (status == 204) {
		LOG_INF("InfluxDB write OK [%s]", s_device_id);
		return 0;
	}

	LOG_ERR("InfluxDB write failed: HTTP %d", status);
	return -EPROTO;
}

static int do_post(const char *body, size_t body_len)
{
	bool had_existing = (s_sock >= 0);
	int err = do_post_once(body, body_len);

	if (err && had_existing) {
		/* The one failure mode worth a same-cycle retry: we reused a
		 * connection that the server (or its idle keep-alive timeout)
		 * had actually already closed. A fresh connect() should be
		 * fast since the network path is presumably still good.
		 * Don't retry a cold-connect failure here — that's already a
		 * full DNS+TCP+TLS timeout, and the normal per-cycle loop
		 * will try again next interval. */
		err = do_post_once(body, body_len);
	}

	return err;
}

/* ── Thread ───────────────────────────────────────────────────────── */

static K_THREAD_STACK_DEFINE(s_stack, INFLUX_THREAD_STACK);
static struct k_thread s_thread;

static void influx_thread_fn(void *p1, void *p2, void *p3)
{
	ARG_UNUSED(p1);
	ARG_UNUSED(p2);
	ARG_UNUSED(p3);

	net_mgmt_init_event_callback(&s_l4_cb, l4_handler,
				     NET_EVENT_L4_CONNECTED |
				     NET_EVENT_L4_DISCONNECTED);
	net_mgmt_add_event_callback(&s_l4_cb);

	while (true) {
		if (!s_net_up) {
			k_sem_take(&s_net_sem, K_FOREVER);
		}

		ringone_data_t data;
		int err = k_msgq_get(&s_queue, &data, K_SECONDS(60));

		if (err == -EAGAIN) {
			/* No data in 60 s — just loop */
			continue;
		}

		if (!s_net_up ||
		    wifi_prov_get_status() != WIFI_STATUS_CONNECTED) {
			/* SoftAP mode fires NET_EVENT_L4_CONNECTED for its own
			 * DHCP-assigned IP — that's not internet connectivity.
			 * Only POST when the device is actually connected to an
			 * upstream AP and the provisioning state agrees. */
			continue;
		}

		if (s_token[0] == '\0') {
			LOG_DBG("InfluxDB token not set — skipping POST");
			continue;
		}

		/* Build InfluxDB line protocol */
		uint32_t ts = sntp_get_unix_time();
		char line[256];
		int line_len = snprintf(line, sizeof(line),
			"ring_telemetry,device_id=%s "
			"hr=%u,spo2=%u,temp=%.2f,"
			"steps=%u,battery=%u,rssi_ble=%d "
			"%u",
			s_device_id,
			(unsigned)data.heart_rate,
			(unsigned)data.spo2,
			(double)data.temperature / 100.0,
			(unsigned)data.steps,
			(unsigned)data.battery,
			-60,   /* RING_ONE_TODO: bt_conn_get_info() RSSI */
			ts);

		if (line_len < 0 || line_len >= (int)sizeof(line)) {
			LOG_ERR("Line protocol buffer overflow");
			continue;
		}

		err = do_post(line, (size_t)line_len);
		s_influx_ok = (err == 0);
	}
}

/* ── Public API ───────────────────────────────────────────────────── */

int influx_telemetry_init(void)
{
	derive_device_id();

	/* Load InfluxDB token from PSA Protected Storage */
	size_t token_len = 0;
	psa_status_t ps_err = psa_ps_get(PS_UID_INFLUX_TOKEN, 0,
					 sizeof(s_token) - 1,
					 s_token, &token_len);
	if (ps_err == PSA_SUCCESS && token_len > 0) {
		s_token[token_len] = '\0';
		LOG_INF("InfluxDB token loaded from Protected Storage");
	} else {
		s_token[0] = '\0';
		LOG_WRN("InfluxDB token not provisioned — writes will fail "
			"until 'ringone_cred set influx_token <TOKEN>' is run");
	}

	k_thread_create(&s_thread, s_stack,
			K_THREAD_STACK_SIZEOF(s_stack),
			influx_thread_fn, NULL, NULL, NULL,
			INFLUX_THREAD_PRIO, 0, K_NO_WAIT);
	k_thread_name_set(&s_thread, "influx_pub");
	return 0;
}

void influx_telemetry_publish(const ringone_data_t *data)
{
	if (!data || wifi_prov_get_status() != WIFI_STATUS_CONNECTED) {
		return;
	}
	/* Non-blocking: drop if queue full */
	k_msgq_put(&s_queue, data, K_NO_WAIT);
}

bool influx_telemetry_connected(void)
{
	return s_influx_ok;
}
```

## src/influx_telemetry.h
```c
/* Ring•One Firmware · Dotstar Systems · Apache 2.0 */
#ifndef INFLUX_TELEMETRY_H
#define INFLUX_TELEMETRY_H

#include <stdbool.h>
#include "wifi_prov.h"   /* ringone_data_t */

/* Initialise PATH B — HTTPS → InfluxDB Cloud v3.
 * Spawns the "influx_pub" thread (stack 4096, priority 8).
 * Token is loaded at runtime from PSA Protected Storage; never in source. */
int influx_telemetry_init(void);

/* Queue a telemetry payload for HTTPS POST to InfluxDB.
 * Non-blocking — enqueues to the influx_pub thread's message queue.
 * Silently dropped if queue is full or Wi-Fi is not connected. */
void influx_telemetry_publish(const ringone_data_t *data);

/* True if the last InfluxDB POST returned HTTP 204. */
bool influx_telemetry_connected(void);

#endif /* INFLUX_TELEMETRY_H */
```

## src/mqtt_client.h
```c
/* Ring•One Firmware · Dotstar Systems · Apache 2.0 */
#ifndef MQTT_CLIENT_H
#define MQTT_CLIENT_H

#include <stdbool.h>
#include "wifi_prov.h"   /* ringone_data_t */

/* Initialise PATH C — MQTT/TLS → HiveMQ Cloud.
 * Spawns the "mqtt_client" thread (stack 4096, priority 9).
 * Credentials loaded from PSA Protected Storage (falls back to Kconfig). */
int ringone_mqtt_init(void);

/* Publish telemetry JSON to ring-one/<device_id>/telemetry (QoS 0).
 * Called from the main notify loop every RINGONE_TELEMETRY_INTERVAL_SEC.
 * Non-blocking — returns immediately if MQTT is not connected. */
void mqtt_publish_telemetry(const ringone_data_t *data);

/* True if the MQTT session with HiveMQ is live. */
bool mqtt_client_connected(void);

#endif /* MQTT_CLIENT_H */
```

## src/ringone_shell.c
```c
/* Ring•One Firmware · Dotstar Systems · Apache 2.0 */

/*
 * ringone_cred shell command — provision cloud credentials into
 * PSA Protected Storage (CRACEN HUK-encrypted, survives reboots).
 *
 * Usage:
 *   uart:~$ ringone_cred set influx_token <TOKEN>
 *   uart:~$ ringone_cred set mqtt_user    <USERNAME>
 *   uart:~$ ringone_cred set mqtt_pass    <PASSWORD>
 *
 * Changes take effect on next boot (modules load credentials at init).
 * PSA UIDs must stay in sync with influx_telemetry.c and mqtt_client.c.
 */

#include <zephyr/kernel.h>
#include <zephyr/shell/shell.h>
#include <zephyr/logging/log.h>
#include <psa/protected_storage.h>
#include <string.h>
#include "ringone_sensors.h"

LOG_MODULE_REGISTER(ringone_shell, LOG_LEVEL_INF);

/* Must match definitions in influx_telemetry.c and mqtt_client.c */
#define PS_UID_INFLUX_TOKEN  ((psa_storage_uid_t)0x524E4946U)  /* "RNIF" */
#define PS_UID_MQTT_USERNAME ((psa_storage_uid_t)0x524E4D51U)  /* "RNMQ" */
#define PS_UID_MQTT_PASSWORD ((psa_storage_uid_t)0x524E5057U)  /* "RNPW" */

static int cmd_cred_set(const struct shell *sh, size_t argc, char **argv)
{
	if (argc != 3) {
		shell_error(sh, "usage: ringone_cred set <key> <value>");
		shell_error(sh, "  keys: influx_token  mqtt_user  mqtt_pass");
		return -EINVAL;
	}

	const char *key   = argv[1];
	const char *value = argv[2];
	size_t      vlen  = strlen(value);
	psa_storage_uid_t uid;

	if (strcmp(key, "influx_token") == 0) {
		uid = PS_UID_INFLUX_TOKEN;
	} else if (strcmp(key, "mqtt_user") == 0) {
		uid = PS_UID_MQTT_USERNAME;
	} else if (strcmp(key, "mqtt_pass") == 0) {
		uid = PS_UID_MQTT_PASSWORD;
	} else {
		shell_error(sh, "unknown key '%s'", key);
		shell_error(sh, "valid keys: influx_token  mqtt_user  mqtt_pass");
		return -EINVAL;
	}

	if (vlen == 0) {
		shell_error(sh, "value must not be empty");
		return -EINVAL;
	}

	psa_status_t err = psa_ps_set(uid, vlen, value,
				      PSA_STORAGE_FLAG_NONE);
	if (err != PSA_SUCCESS) {
		shell_error(sh, "PSA write failed (err %d)", (int)err);
		return -EIO;
	}

	shell_print(sh, "stored %s (%zu bytes) — reboot to activate", key, vlen);
	LOG_INF("Credential '%s' written to Protected Storage", key);
	return 0;
}

SHELL_STATIC_SUBCMD_SET_CREATE(ringone_cred_cmds,
	SHELL_CMD_ARG(set, NULL,
		"set <key> <value>  store credential in PSA Protected Storage\n"
		"  influx_token  InfluxDB write token\n"
		"  mqtt_user     HiveMQ username\n"
		"  mqtt_pass     HiveMQ password",
		cmd_cred_set, 3, 0),
	SHELL_SUBCMD_SET_END
);

SHELL_CMD_REGISTER(ringone_cred, &ringone_cred_cmds,
	"Provision Ring-One cloud credentials into PSA Protected Storage.",
	NULL);

/*
 * ringone spo2 — manually fetch one raw MAX30101 RED/IR sample plus the
 * current post-processed heart rate / SpO2, for bench debugging
 * independent of the 2 s BLE notify loop.
 */
static int cmd_ringone_spo2(const struct shell *sh, size_t argc, char **argv)
{
	ARG_UNUSED(argc);
	ARG_UNUSED(argv);

	uint32_t red, ir;
	int err = ringone_sensors_read_raw(&red, &ir);

	if (err) {
		shell_error(sh, "MAX30101 read failed (err %d) — not ready yet?", err);
		return err;
	}

	shell_print(sh, "red=%u ir=%u  hr=%u bpm  spo2=%u%%",
		    red, ir, ringone_read_heart_rate(), ringone_read_spo2());
	return 0;
}

SHELL_STATIC_SUBCMD_SET_CREATE(ringone_cmds,
	SHELL_CMD_ARG(spo2, NULL,
		"Read one raw MAX30101 RED/IR sample + current HR/SpO2",
		cmd_ringone_spo2, 1, 0),
	SHELL_SUBCMD_SET_END
);

SHELL_CMD_REGISTER(ringone, &ringone_cmds,
	"Ring-One sensor diagnostics commands.", NULL);
```

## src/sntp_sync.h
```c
/* Ring•One Firmware · Dotstar Systems · Apache 2.0 */
#ifndef SNTP_SYNC_H
#define SNTP_SYNC_H

#include <stdint.h>

/* Start async SNTP sync.  Returns immediately; sync runs in background.
 * Call once after network is up.  Re-called by retry logic on failure. */
void sntp_sync(void);

/* Return current Unix timestamp (UTC seconds).
 * Returns an uptime-based estimate if SNTP has not yet synced. */
uint32_t sntp_get_unix_time(void);

#endif /* SNTP_SYNC_H */
```

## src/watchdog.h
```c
/* Ring•One Firmware · Dotstar Systems · Apache 2.0 */
#ifndef WATCHDOG_H
#define WATCHDOG_H

#include <stdint.h>

/* Initialise hardware watchdog (30 s timeout).
 * Logs "WATCHDOG RESET DETECTED" if previous boot was a WDT reset.
 * Call before any other subsystem init. */
int watchdog_init(void);

/* Feed the watchdog.  Call from the main loop every 10 s. */
void watchdog_feed(void);

/* Return watchdog reset counter (persisted across reboots in Settings). */
uint32_t watchdog_get_crash_count(void);

#endif /* WATCHDOG_H */
```
